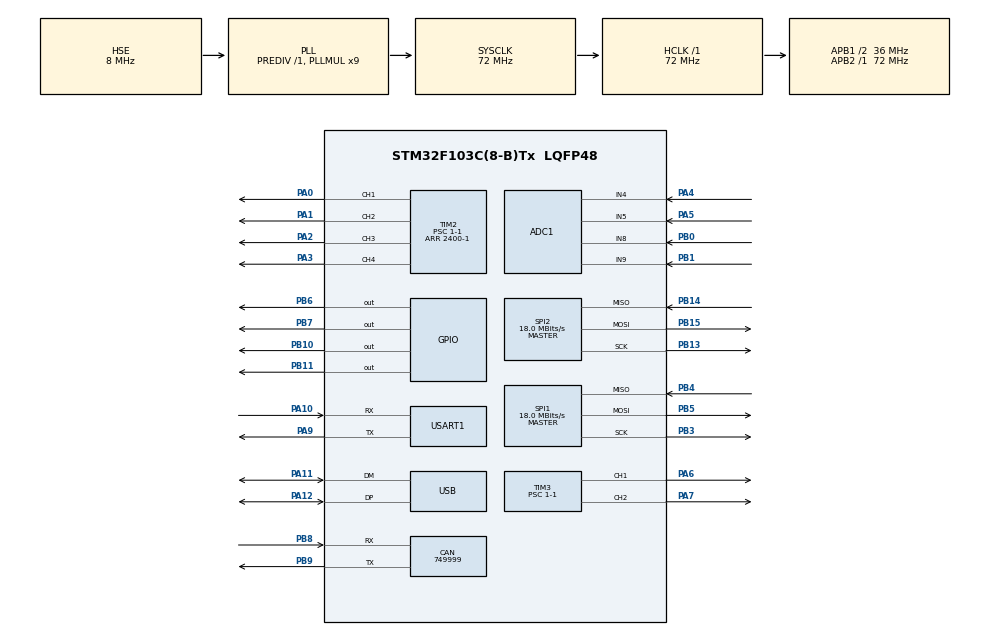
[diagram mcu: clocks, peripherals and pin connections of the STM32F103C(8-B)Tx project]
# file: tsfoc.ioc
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ADC1.Channel-0\#ChannelRegularConversion=ADC_CHANNEL_4
ADC1.Channel-1\#ChannelRegularConversion=ADC_CHANNEL_5
ADC1.Channel-2\#ChannelRegularConversion=ADC_CHANNEL_8
ADC1.Channel-3\#ChannelRegularConversion=ADC_CHANNEL_9
ADC1.ContinuousConvMode=ENABLE
ADC1.NbrOfConversion=4
ADC1.NbrOfConversionFlag=1
ADC1.Rank-0\#ChannelRegularConversion=1
ADC1.Rank-1\#ChannelRegularConversion=2
ADC1.Rank-2\#ChannelRegularConversion=3
ADC1.Rank-3\#ChannelRegularConversion=4
ADC1.SamplingTime-0\#ChannelRegularConversion=ADC_SAMPLETIME_7CYCLES_5
ADC1.SamplingTime-1\#ChannelRegularConversion=ADC_SAMPLETIME_7CYCLES_5
ADC1.SamplingTime-2\#ChannelRegularConversion=ADC_SAMPLETIME_7CYCLES_5
ADC1.SamplingTime-3\#ChannelRegularConversion=ADC_SAMPLETIME_7CYCLES_5
ADC1.master=1
CAN.CalculateBaudRate=749999
CAN.CalculateTimeBit=1333
CAN.CalculateTimeQuantum=444.44444444444446
Dma.ADC1.0.Direction=DMA_PERIPH_TO_MEMORY
Dma.ADC1.0.Instance=DMA1_Channel1
Dma.ADC1.0.MemDataAlignment=DMA_MDATAALIGN_HALFWORD
Dma.ADC1.0.MemInc=DMA_MINC_ENABLE
Dma.ADC1.0.Mode=DMA_CIRCULAR
Dma.ADC1.0.PeriphDataAlignment=DMA_PDATAALIGN_HALFWORD
Dma.ADC1.0.PeriphInc=DMA_PINC_DISABLE
Dma.ADC1.0.Priority=DMA_PRIORITY_LOW
Dma.Request0=ADC1
Dma.Request1=USART1_RX
Dma.Request2=SPI1_TX
Dma.Request3=SPI2_RX
Dma.SPI1_TX.2.Direction=DMA_MEMORY_TO_PERIPH
Dma.SPI1_TX.2.Instance=DMA1_Channel3
Dma.SPI1_TX.2.MemDataAlignment=DMA_MDATAALIGN_BYTE
Dma.SPI1_TX.2.MemInc=DMA_MINC_ENABLE
Dma.SPI1_TX.2.Mode=DMA_NORMAL
Dma.SPI1_TX.2.PeriphDataAlignment=DMA_PDATAALIGN_BYTE
Dma.SPI1_TX.2.PeriphInc=DMA_PINC_DISABLE
Dma.SPI1_TX.2.Priority=DMA_PRIORITY_LOW
Dma.SPI2_RX.3.Direction=DMA_PERIPH_TO_MEMORY
Dma.SPI2_RX.3.Instance=DMA1_Channel4
Dma.SPI2_RX.3.MemDataAlignment=DMA_MDATAALIGN_BYTE
Dma.SPI2_RX.3.MemInc=DMA_MINC_ENABLE
Dma.SPI2_RX.3.Mode=DMA_NORMAL
Dma.SPI2_RX.3.PeriphDataAlignment=DMA_PDATAALIGN_BYTE
Dma.SPI2_RX.3.PeriphInc=DMA_PINC_DISABLE
Dma.SPI2_RX.3.Priority=DMA_PRIORITY_LOW
Dma.USART1_RX.1.Direction=DMA_PERIPH_TO_MEMORY
Dma.USART1_RX.1.Instance=DMA1_Channel5
Dma.USART1_RX.1.MemDataAlignment=DMA_MDATAALIGN_BYTE
Dma.USART1_RX.1.MemInc=DMA_MINC_ENABLE
Dma.USART1_RX.1.Mode=DMA_NORMAL
Dma.USART1_RX.1.PeriphDataAlignment=DMA_PDATAALIGN_BYTE
Dma.USART1_RX.1.PeriphInc=DMA_PINC_DISABLE
Dma.USART1_RX.1.Priority=DMA_PRIORITY_LOW
Mcu.Family=STM32F1
Mcu.Name=STM32F103C(8-B)Tx
Mcu.Package=LQFP48
NVIC.ADC1_2_IRQn=true\:0\:0\:false\:false\:true\:true\:true\:true
NVIC.CAN1_RX1_IRQn=true\:0\:0\:false\:false\:true\:true\:true\:true
NVIC.DMA1_Channel1_IRQn=true\:0\:0\:false\:false\:true\:false\:true\:true
NVIC.DMA1_Channel3_IRQn=true\:0\:0\:false\:false\:true\:false\:true\:true
NVIC.DMA1_Channel4_IRQn=true\:0\:0\:false\:false\:true\:false\:true\:true
NVIC.DMA1_Channel5_IRQn=true\:0\:0\:false\:false\:true\:false\:true\:true
NVIC.PriorityGroup=NVIC_PRIORITYGROUP_4
NVIC.SPI1_IRQn=true\:0\:0\:false\:false\:true\:true\:true\:true
NVIC.SPI2_IRQn=true\:0\:0\:false\:false\:true\:true\:true\:true
NVIC.USART1_IRQn=true\:0\:0\:false\:false\:true\:true\:true\:true
PA0-WKUP.Signal=S_TIM2_CH1_ETR
PA1.Signal=S_TIM2_CH2
PA10.Mode=Asynchronous
PA10.Signal=USART1_RX
PA11.Mode=Device
PA11.Signal=USB_DM
PA12.Mode=Device
PA12.Signal=USB_DP
PA2.Signal=S_TIM2_CH3
PA3.Signal=S_TIM2_CH4
PA4.Signal=ADCx_IN4
PA5.Signal=ADCx_IN5
PA6.Signal=S_TIM3_CH1
PA7.Signal=S_TIM3_CH2
PA9.Mode=Asynchronous
PA9.Signal=USART1_TX
PB0.Signal=ADCx_IN8
PB1.Signal=ADCx_IN9
PB10.GPIO_ModeDefaultOutputPP=GPIO_MODE_OUTPUT_OD
PB10.GPIO_PuPd=GPIO_NOPULL
PB10.GPIO_Speed=GPIO_SPEED_FREQ_HIGH
PB10.Signal=GPIO_Output
PB11.GPIO_ModeDefaultOutputPP=GPIO_MODE_OUTPUT_OD
PB11.GPIO_PuPd=GPIO_NOPULL
PB11.GPIO_Speed=GPIO_SPEED_FREQ_HIGH
PB11.Signal=GPIO_Output
PB13.Mode=Full_Duplex_Master
PB13.Signal=SPI2_SCK
PB14.Mode=Full_Duplex_Master
PB14.Signal=SPI2_MISO
PB15.Mode=Full_Duplex_Master
PB15.Signal=SPI2_MOSI
PB3.Mode=Full_Duplex_Master
PB3.Signal=SPI1_SCK
PB4.Mode=Full_Duplex_Master
PB4.Signal=SPI1_MISO
PB5.Mode=Full_Duplex_Master
PB5.Signal=SPI1_MOSI
PB6.GPIO_ModeDefaultOutputPP=GPIO_MODE_OUTPUT_OD
PB6.GPIO_PuPd=GPIO_NOPULL
PB6.GPIO_Speed=GPIO_SPEED_FREQ_HIGH
PB6.Signal=GPIO_Output
PB7.GPIO_ModeDefaultOutputPP=GPIO_MODE_OUTPUT_OD
PB7.GPIO_PuPd=GPIO_NOPULL
PB7.GPIO_Speed=GPIO_SPEED_FREQ_HIGH
PB7.Signal=GPIO_Output
PB8.Mode=CAN_Activate
PB8.Signal=CAN_RX
PB9.Mode=CAN_Activate
PB9.Signal=CAN_TX
PD0-OSC_IN.Mode=HSE-External-Oscillator
PD0-OSC_IN.Signal=RCC_OSC_IN
PD1-OSC_OUT.Mode=HSE-External-Oscillator
PD1-OSC_OUT.Signal=RCC_OSC_OUT
ProjectManager.HeapSize=0x200
ProjectManager.StackSize=0x400
ProjectManager.TargetToolchain=MDK-ARM V5.32
RCC.ADCPresc=RCC_ADCPCLK2_DIV6
RCC.AHBFreq_Value=72000000
RCC.APB1CLKDivider=RCC_HCLK_DIV2
RCC.APB1Freq_Value=36000000
RCC.APB1TimFreq_Value=72000000
RCC.APB2Freq_Value=72000000
RCC.APB2TimFreq_Value=72000000
RCC.HCLKFreq_Value=72000000
RCC.PLLMUL=RCC_PLL_MUL9
RCC.PLLSourceVirtual=RCC_PLLSOURCE_HSE
RCC.SYSCLKFreq_VALUE=72000000
RCC.SYSCLKSource=RCC_SYSCLKSOURCE_PLLCLK
RCC.USBFreq_Value=48000000
RCC.USBPrescaler=RCC_USBCLKSOURCE_PLL_DIV1_5
SH.ADCx_IN4.0=ADC1_IN4,IN4
SH.ADCx_IN5.0=ADC1_IN5,IN5
SH.ADCx_IN8.0=ADC1_IN8,IN8
SH.ADCx_IN9.0=ADC1_IN9,IN9
SH.S_TIM2_CH1_ETR.0=TIM2_CH1,PWM Generation1 CH1
SH.S_TIM2_CH2.0=TIM2_CH2,PWM Generation2 CH2
SH.S_TIM2_CH3.0=TIM2_CH3,PWM Generation3 CH3
SH.S_TIM2_CH4.0=TIM2_CH4,PWM Generation4 CH4
SH.S_TIM3_CH1.0=TIM3_CH1,PWM Generation1 CH1
SH.S_TIM3_CH2.0=TIM3_CH2,PWM Generation2 CH2
SPI1.BaudRatePrescaler=SPI_BAUDRATEPRESCALER_4
SPI1.CalculateBaudRate=18.0 MBits/s
SPI1.Direction=SPI_DIRECTION_2LINES
SPI1.Mode=SPI_MODE_MASTER
SPI1.VirtualType=VM_MASTER
SPI2.CalculateBaudRate=18.0 MBits/s
SPI2.Direction=SPI_DIRECTION_2LINES
SPI2.Mode=SPI_MODE_MASTER
SPI2.VirtualType=VM_MASTER
TIM2.AutoReloadPreload=TIM_AUTORELOAD_PRELOAD_ENABLE
TIM2.Channel-PWM\ Generation1\ CH1=TIM_CHANNEL_1
TIM2.Channel-PWM\ Generation2\ CH2=TIM_CHANNEL_2
TIM2.Channel-PWM\ Generation3\ CH3=TIM_CHANNEL_3
TIM2.Channel-PWM\ Generation4\ CH4=TIM_CHANNEL_4
TIM2.Period=2400-1
TIM2.Prescaler=1-1
TIM3.AutoReloadPreload=TIM_AUTORELOAD_PRELOAD_ENABLE
TIM3.Channel-PWM\ Generation1\ CH1=TIM_CHANNEL_1
TIM3.Channel-PWM\ Generation2\ CH2=TIM_CHANNEL_2
TIM3.Period=2400-1
TIM3.Prescaler=1-1
USART1.VirtualMode=VM_ASYNC
VP_SYS_VS_ND.Mode=No_Debug
board=custom

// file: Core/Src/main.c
/* USER CODE BEGIN Header */
/**
  ******************************************************************************
  * @file           : main.c
  * @brief          : Main program body
  ******************************************************************************
  * @attention
  *
  * Copyright (c) 2024 STMicroelectronics.
  * All rights reserved.
  *
  * This software is licensed under terms that can be found in the LICENSE file
  * in the root directory of this software component.
  * If no LICENSE file comes with this software, it is provided AS-IS.
  *
  ******************************************************************************
  */
/* USER CODE END Header */
#include "main.h"
#include "adc.h"
#include "can.h"
#include "dma.h"
#include "spi.h"
#include "tim.h"
#include "usart.h"
#include "usb.h"
#include "gpio.h"

/* USER CODE BEGIN Includes */
#include "stdio.h"
#include "ts_foc.h"
#include "user_api.h"
#include "stdlib.h"
#include "stddef.h"

/* USER CODE END Includes */

/* USER CODE BEGIN PTD */
//Serial port redirection
#ifdef __GNUC__
#define PUTCHAR_PROTOTYPE int __io_putchar(int ch)
#else
#define PUTCHAR_PROTOTYPE int fputc(int ch, FILE *f)
#endif
PUTCHAR_PROTOTYPE
{
    HAL_UART_Transmit(&huart1 , (uint8_t *)&ch, 1, 0xFFFF);
    return ch;
}
/* USER CODE END PTD */

void SystemClock_Config(void);

/* USER CODE BEGIN 0 */
float target_angle1,target_angle2;
/* USER CODE END 0 */

int main(void)
{

  /* MCU Configuration--------------------------------------------------------*/

  /* Reset of all peripherals, Initializes the Flash interface and the Systick. */
  HAL_Init();

  /* Configure the system clock */
  SystemClock_Config();

  /* Initialize all configured peripherals */
  MX_GPIO_Init();
  MX_DMA_Init();
  MX_ADC1_Init();
  MX_USART1_UART_Init();
  MX_CAN_Init();
  MX_SPI1_Init();
  MX_TIM2_Init();
  MX_TIM3_Init();
  MX_USB_PCD_Init();
  MX_SPI2_Init();
  /* USER CODE BEGIN 2 */

  HAL_TIM_PWM_Start(&htim2,TIM_CHANNEL_1);
  HAL_TIM_PWM_Start(&htim2,TIM_CHANNEL_2);
  HAL_TIM_PWM_Start(&htim2,TIM_CHANNEL_3);
  HAL_TIM_PWM_Start(&htim2,TIM_CHANNEL_4);
  HAL_TIM_PWM_Start(&htim3,TIM_CHANNEL_1);
  HAL_TIM_PWM_Start(&htim3,TIM_CHANNEL_2);

  HAL_Delay(2000);

  Motor* Motor1 = (Motor*)malloc(sizeof(Motor)*1);
  if (Motor1 == NULL)
  {
    printf("电机1内存申请失败\r\n");
    HAL_Delay(2000);
  }
  Motor1->As5600_Sensor = (As5600_Sensor_Typedef*) malloc(sizeof(As5600_Sensor_Typedef)*1);
  Motor1->Pid_Vel = (Pid_Typedef*) malloc(sizeof(Pid_Typedef)*1);
  Motor1->Pid_Ang = (Pid_Typedef*) malloc(sizeof(Pid_Typedef)*1);
  Motor1->Lowpass_Filter = (Lowpass_Filter_Typedef*) malloc(sizeof(Lowpass_Filter_Typedef)*1);
  Motor1->Ualpha = Motor1->Ubeta = Motor1->Ua = Motor1->Ub = Motor1->Uc = 0;
  Motor1->Motor_ID = 1;
  Motor1->voltage_power_supply = 12.;
  Motor1->PP = 7;
  Motor1->DIR = 1;
  Motor1->zero_electric_angle = 0;
  Motor1->As5600_Sensor->Port = GPIOB;
  Motor1->As5600_Sensor->SCL_PIN = GPIO_PIN_10;
  Motor1->As5600_Sensor->SDA_PIN = GPIO_PIN_11;
  Motor1->Motor_Set_Compare1 = Motor1_Set_Compare1;
  Motor1->Motor_Set_Compare2 = Motor1_Set_Compare2;
  Motor1->Motor_Set_Compare3 = Motor1_Set_Compare3;
  Pid_Vel_Init(Motor1->Pid_Vel,0.001,0.1,0,1000,Motor1->voltage_power_supply/2);
  Lowpass_Filter_Init(Motor1->Lowpass_Filter, 0.01);

  Motor* Motor2 = (Motor*)malloc(sizeof(Motor)*1);
  if (Motor2 == NULL)
  {
    printf("电机2内存申请失败\r\n");
    HAL_Delay(2000);
  }
  Motor2->As5600_Sensor = (As5600_Sensor_Typedef*) malloc(sizeof(As5600_Sensor_Typedef)*1);
  Motor2->Pid_Vel = (Pid_Typedef*) malloc(sizeof(Pid_Typedef)*1);
  Motor2->Pid_Ang = (Pid_Typedef*) malloc(sizeof(Pid_Typedef)*1);
  Motor2->Lowpass_Filter = (Lowpass_Filter_Typedef*) malloc(sizeof(Lowpass_Filter_Typedef)*1);
  Motor2->Ualpha = Motor2->Ubeta = Motor2->Ua = Motor2->Ub = Motor2->Uc = 0;
  Motor2->Motor_ID = 2;
  Motor2->voltage_power_supply = 12.;
  Motor2->PP = 7;
  Motor2->DIR = 1;
  Motor2->zero_electric_angle = 0;
  Motor2->As5600_Sensor->Port = GPIOB;
  Motor2->As5600_Sensor->SCL_PIN = GPIO_PIN_6;
  Motor2->As5600_Sensor->SDA_PIN = GPIO_PIN_7;
  Motor2->Motor_Set_Compare1 = Motor2_Set_Compare1;
  Motor2->Motor_Set_Compare2 = Motor2_Set_Compare2;
  Motor2->Motor_Set_Compare3 = Motor2_Set_Compare3;
  Pid_Vel_Init(Motor2->Pid_Vel,0.001,0.1,0,1000,Motor2->voltage_power_supply/2);
  Lowpass_Filter_Init(Motor2->Lowpass_Filter, 0.01);

  //初始化as5600传感器
  AS5600_Init(Motor1->As5600_Sensor);
  AS5600_Init(Motor2->As5600_Sensor);

  for (int i = 0; i < 50; i++)
  {
    AS5600_Sensor_update(Motor1->As5600_Sensor);
    AS5600_Sensor_update(Motor2->As5600_Sensor);
  }

  aligns_Motor_Zero_Angle(Motor1);

  aligns_Motor_Zero_Angle(Motor2);

  printf("everythin_init_ok\r\n");

  /* USER CODE END 2 */

  /* Infinite loop */
  /* USER CODE BEGIN WHILE */
  HAL_Delay(1000);
  int count = 0;

  while (1)
  {
    // AS5600_Sensor_update(As5600_Sensor1);
    // AS5600_Sensor_update(As5600_Sensor2);
    AS5600_Sensor_update(Motor1->As5600_Sensor);
    AS5600_Sensor_update(Motor2->As5600_Sensor);
    Get_Cmd(&huart1);
    // setTorque(Motor1, 3, _electricalAngle(Motor1));   //力矩闭环
    // // 位置闭环
    // setTorque(Motor1,Kp*((target_angle1)-Motor1->DIR*AS5600_getAngle(Motor1->As5600_Sensor))*180/PI,_electricalAngle(Motor1));   //位置闭环
    // setTorque(Motor2,Kp*((target_angle1)-Motor2->DIR*AS5600_getAngle(Motor2->As5600_Sensor))*180/PI,_electricalAngle(Motor2));   //位置闭环
    // 速度闭环
    setTorque(Motor1, Pid_clac(Motor1->Pid_Vel,(target_angle1-Motor_Get_Velocity(Motor1))*180/PI),_electricalAngle(Motor1));   //速度闭环
    setTorque(Motor2, Pid_clac(Motor2->Pid_Vel,(target_angle1-Motor_Get_Velocity(Motor2))*180/PI),_electricalAngle(Motor2));   //速度闭环

    if(count++>100)
    {
      count = 0;
      //调试信息打印
      printf("%.2f\r\n",Motor1->As5600_Sensor->Velocity);
    }

    /* USER CODE END WHILE */

  }
}

void SystemClock_Config(void)
{
  RCC_OscInitTypeDef RCC_OscInitStruct = {0};
  RCC_ClkInitTypeDef RCC_ClkInitStruct = {0};
  RCC_PeriphCLKInitTypeDef PeriphClkInit = {0};

  /** Initializes the RCC Oscillators according to the specified parameters
  * in the RCC_OscInitTypeDef structure.
  */
  RCC_OscInitStruct.OscillatorType = RCC_OSCILLATORTYPE_HSE;
  RCC_OscInitStruct.HSEState = RCC_HSE_ON;
  RCC_OscInitStruct.HSEPredivValue = RCC_HSE_PREDIV_DIV1;
  RCC_OscInitStruct.HSIState = RCC_HSI_ON;
  RCC_OscInitStruct.PLL.PLLState = RCC_PLL_ON;
  RCC_OscInitStruct.PLL.PLLSource = RCC_PLLSOURCE_HSE;
  RCC_OscInitStruct.PLL.PLLMUL = RCC_PLL_MUL9;
  if (HAL_RCC_OscConfig(&RCC_OscInitStruct) != HAL_OK)
  {
    Error_Handler();
  }

  /** Initializes the CPU, AHB and APB buses clocks
  */
  RCC_ClkInitStruct.ClockType = RCC_CLOCKTYPE_HCLK|RCC_CLOCKTYPE_SYSCLK
                              |RCC_CLOCKTYPE_PCLK1|RCC_CLOCKTYPE_PCLK2;
  RCC_ClkInitStruct.SYSCLKSource = RCC_SYSCLKSOURCE_PLLCLK;
  RCC_ClkInitStruct.AHBCLKDivider = RCC_SYSCLK_DIV1;
  RCC_ClkInitStruct.APB1CLKDivider = RCC_HCLK_DIV2;
  RCC_ClkInitStruct.APB2CLKDivider = RCC_HCLK_DIV1;

  if (HAL_RCC_ClockConfig(&RCC_ClkInitStruct, FLASH_LATENCY_2) != HAL_OK)
  {
    Error_Handler();
  }
  PeriphClkInit.PeriphClockSelection = RCC_PERIPHCLK_ADC|RCC_PERIPHCLK_USB;
  PeriphClkInit.AdcClockSelection = RCC_ADCPCLK2_DIV6;
  PeriphClkInit.UsbClockSelection = RCC_USBCLKSOURCE_PLL_DIV1_5;
  if (HAL_RCCEx_PeriphCLKConfig(&PeriphClkInit) != HAL_OK)
  {
    Error_Handler();
  }
}

void Error_Handler(void)
{
  __disable_irq();
  while (1)
  {
  }
}
